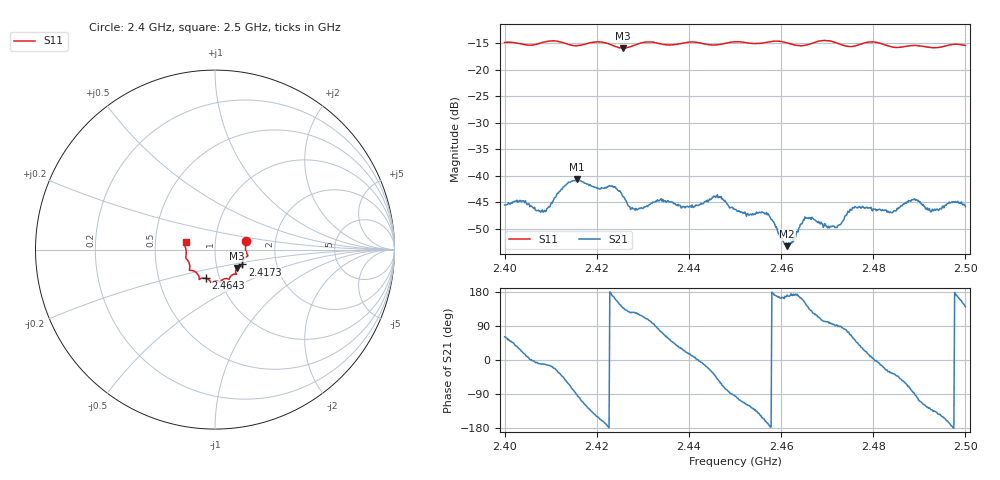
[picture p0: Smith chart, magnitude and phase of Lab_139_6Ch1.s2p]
# Hz S RI R 50
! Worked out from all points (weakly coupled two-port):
!   601 points, 2.4 GHz to 2.5 GHz, reference 50 ohm
!   highest |S21| = -40.66 dB at 2.4157 GHz (marker M1); lowest = -53.3 dB at 2.4613 GHz (marker M2)
!   lowest |S11| = -15.9 dB at 2.4257 GHz (marker M3), VSWR 1.38, Z = 62.4 - j13.1 ohm
!   |S11| at or under -10 dB: start of sweep to end of sweep
!   S12 and S22 are empty: the file has one direction only
!   S11 on the Smith chart (normalised r, x): 2.4 GHz: 1.41, +0.14; 2.4173 GHz: 1.34, -0.23; 2.4643 GHz: 0.86, -0.28; 2.5 GHz: 0.72, +0.06
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2.4e9  0.1734 0.0492  0.00254 0.00463  0 0  0 0
2.404e9  0.1715 0.0251  0.00549 0.00187  0 0  0 0
2.4085e9  0.18 -0.0256  0.00449 -0.000895  0 0  0 0
2.415667e9  0.1558 -0.0629  -0.000202 -0.00926  0 0  0 0
2.416667e9  0.1529 -0.075  -0.00259 -0.00843  0 0  0 0
2.417333e9  0.1523 -0.0826  -0.00379 -0.00758  0 0  0 0
2.425667e9  0.1223 -0.1024  -0.00466 0.00434  0 0  0 0
2.428333e9  0.1152 -0.1267  -0.00264 0.00391  0 0  0 0
2.433333e9  0.1126 -0.1366  0.000724 0.00575  0 0  0 0
2.438833e9  0.0811 -0.1589  0.0046 0.00217  0 0  0 0
2.4465e9  0.0434 -0.1667  0.00364 -0.00508  0 0  0 0
2.45e9  0.0296 -0.1807  -0.000451 -0.00479  0 0  0 0
2.457e9  -0.0137 -0.1809  -0.00414 -0.00103  0 0  0 0
2.461333e9  -0.0269 -0.1764  -0.00214 0.000327  0 0  0 0
2.464333e9  -0.0501 -0.1603  -0.00336 0.001  0 0  0 0
2.466667e9  -0.0763 -0.1597  -0.00256 0.00314  0 0  0 0
2.471667e9  -0.087 -0.1588  -8.04e-05 0.00323  0 0  0 0
2.476e9  -0.1163 -0.1195  0.00307 0.00409  0 0  0 0
2.483333e9  -0.1408 -0.0898  0.00389 -0.00231  0 0  0 0
2.488833e9  -0.1624 -0.0469  0.000388 -0.00594  0 0  0 0
2.4925e9  -0.1603 -0.0197  -0.00296 -0.00343  0 0  0 0
2.5e9  -0.1637 0.0415  -0.00392 0.00325  0 0  0 0
